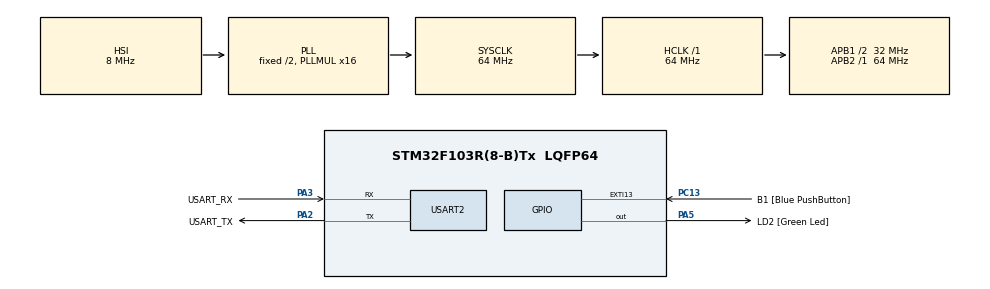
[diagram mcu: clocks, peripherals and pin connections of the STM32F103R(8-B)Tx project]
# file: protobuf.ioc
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Mcu.Family=STM32F1
Mcu.Name=STM32F103R(8-B)Tx
Mcu.Package=LQFP64
NVIC.EXTI15_10_IRQn=true\:0\:0\:false\:false\:true\:true\:true\:true
NVIC.PriorityGroup=NVIC_PRIORITYGROUP_4
PA13.GPIO_Label=TMS
PA13.Mode=Serial_Wire
PA13.Signal=SYS_JTMS-SWDIO
PA14.GPIO_Label=TCK
PA14.Mode=Serial_Wire
PA14.Signal=SYS_JTCK-SWCLK
PA2.GPIO_Label=USART_TX
PA2.GPIO_Mode=GPIO_MODE_AF_PP
PA2.GPIO_PuPd=GPIO_NOPULL
PA2.GPIO_Speed=GPIO_SPEED_FREQ_LOW
PA2.Mode=Asynchronous
PA2.Signal=USART2_TX
PA3.GPIO_Label=USART_RX
PA3.GPIO_Mode=GPIO_MODE_AF_PP
PA3.GPIO_PuPd=GPIO_NOPULL
PA3.GPIO_Speed=GPIO_SPEED_FREQ_LOW
PA3.Mode=Asynchronous
PA3.Signal=USART2_RX
PA5.GPIO_Label=LD2 [Green Led]
PA5.GPIO_ModeDefaultOutputPP=GPIO_MODE_OUTPUT_PP
PA5.GPIO_PuPd=GPIO_NOPULL
PA5.GPIO_Speed=GPIO_SPEED_FREQ_LOW
PA5.Signal=GPIO_Output
PB3.GPIO_Label=SWO
PB3.Signal=SYS_JTDO-TRACESWO
PC13-TAMPER-RTC.GPIO_Label=B1 [Blue PushButton]
PC13-TAMPER-RTC.GPIO_PuPd=GPIO_NOPULL
PC13-TAMPER-RTC.Signal=GPXTI13
PC14-OSC32_IN.Mode=LSE-External-Oscillator
PC14-OSC32_IN.Signal=RCC_OSC32_IN
PC15-OSC32_OUT.Mode=LSE-External-Oscillator
PC15-OSC32_OUT.Signal=RCC_OSC32_OUT
PD0-OSC_IN.Mode=HSE-External-Clock-Source
PD0-OSC_IN.Signal=RCC_OSC_IN
PD1-OSC_OUT.Mode=HSE-External-Clock-Source
PD1-OSC_OUT.Signal=RCC_OSC_OUT
ProjectManager.HeapSize=0x200
ProjectManager.StackSize=0x400
ProjectManager.TargetToolchain=STM32CubeIDE
RCC.AHBFreq_Value=64000000
RCC.APB1CLKDivider=RCC_HCLK_DIV2
RCC.APB1Freq_Value=32000000
RCC.APB1TimFreq_Value=64000000
RCC.APB2Freq_Value=64000000
RCC.APB2TimFreq_Value=64000000
RCC.HCLKFreq_Value=64000000
RCC.PLLMUL=RCC_PLL_MUL16
RCC.RTCClockSelection=RCC_RTCCLKSOURCE_LSE
RCC.SYSCLKFreq_VALUE=64000000
RCC.SYSCLKSource=RCC_SYSCLKSOURCE_PLLCLK
RCC.USBFreq_Value=64000000
USART2.VirtualMode=VM_ASYNC
board=NUCLEO-F103RB

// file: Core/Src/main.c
/* USER CODE BEGIN Header */
/**
  ******************************************************************************
  * @file           : main.c
  * @brief          : Main program body
  ******************************************************************************
  * @attention
  *
  * Copyright (c) 2024 STMicroelectronics.
  * All rights reserved.
  *
  * This software is licensed under terms that can be found in the LICENSE file
  * in the root directory of this software component.
  * If no LICENSE file comes with this software, it is provided AS-IS.
  *
  ******************************************************************************
  */
/* USER CODE END Header */
#include "main.h"

UART_HandleTypeDef huart2;

void SystemClock_Config(void);
static void MX_GPIO_Init(void);
static void MX_USART2_UART_Init(void);

/* USER CODE BEGIN 0 */
UART_HandleTypeDef huart2;

#include <pb_decode.h>
#include <pb_common.h>
#include "unionproto.pb.h"

/* This function reads manually the first tag from the stream and finds the
 * corresponding message type. It doesn't yet decode the actual message.
 *
 * Returns a pointer to the MsgType_fields array, as an identifier for the
 * message type. Returns null if the tag is of unknown type or an error occurs.
 */
extern pb_msgdesc_t* decode_unionmessage_type(pb_istream_t *stream);

extern bool decode_unionmessage_contents(pb_istream_t *stream, const pb_msgdesc_t *messagetype, void *dest_struct);

bool receive_message(UART_HandleTypeDef *huart, uint8_t *buffer, size_t* buffer_size)
{
    uint8_t length_prefix[2];

    // Receive length prefix
    if (HAL_UART_Receive(huart, length_prefix, sizeof(length_prefix), HAL_MAX_DELAY) != HAL_OK)
    {
        return false; // Failed to receive length prefix
    }

    // Calculate message length
    size_t message_length = (length_prefix[0] << 8) | length_prefix[1];

    // Check if the message length exceeds buffer size
    if (message_length > *buffer_size)
    {
        return false; // Error: message too long
    }

    *buffer_size = message_length;
    // Receive the message
    return (HAL_UART_Receive(huart, buffer, message_length, HAL_MAX_DELAY) == HAL_OK);
}

void send_response(UART_HandleTypeDef *huart, uint8_t response_type)
{
    // Create a buffer for the response
    uint8_t response[3]; // 2 bytes for length + 1 byte for response type
    uint16_t length = 1; // Response type length

    // Create length prefix
    response[0] = (length >> 8) & 0xFF; // High byte
    response[1] = length & 0xFF;        // Low byte
    response[2] = response_type;        // Response type

    // Send the response
    HAL_UART_Transmit(huart, response, sizeof(response), HAL_MAX_DELAY);
}

MsgType1 msg1 = {};
MsgType2 msg2 = {};
MsgType3 msg3 = {};

bool process_message(uint8_t *buffer, size_t length)
{
    pb_istream_t stream = pb_istream_from_buffer(buffer, length);
    const pb_msgdesc_t *type = decode_unionmessage_type(&stream);
    bool status = false;

    if (type == MsgType1_fields)
    {
        status = decode_unionmessage_contents(&stream, MsgType1_fields, &msg1);
        // Handle MsgType1
    }
    else if (type == MsgType2_fields)
    {
        status = decode_unionmessage_contents(&stream, MsgType2_fields, &msg2);
        // Handle MsgType2
    }
    else if (type == MsgType3_fields)
    {
        status = decode_unionmessage_contents(&stream, MsgType3_fields, &msg3);
        // Handle MsgType3
    }

    return status;
}

void receive_protobuf_message(UART_HandleTypeDef *huart)
{
    uint8_t buffer[512];
    size_t size = sizeof(buffer);

    if (receive_message(huart, buffer, &size))
    {
    	if(process_message(buffer, size))
    	{
            send_response(huart, 0x00); // Send success response
    	}
    	else
    	{
            send_response(huart, 0x02); // Send error response
    	}
    }
    else
    {
        send_response(huart, 0x01); // Send error response
    }
}

/* USER CODE END 0 */

int main(void)
{

  /* MCU Configuration--------------------------------------------------------*/

  /* Reset of all peripherals, Initializes the Flash interface and the Systick. */
  HAL_Init();

  /* Configure the system clock */
  SystemClock_Config();

  /* Initialize all configured peripherals */
  MX_GPIO_Init();
  MX_USART2_UART_Init();

  /* Infinite loop */
  /* USER CODE BEGIN WHILE */
  while (1)
  {
	  receive_protobuf_message(&huart2);
	  /* USER CODE END WHILE */

  }
}

void SystemClock_Config(void)
{
  RCC_OscInitTypeDef RCC_OscInitStruct = {0};
  RCC_ClkInitTypeDef RCC_ClkInitStruct = {0};

  /** Initializes the RCC Oscillators according to the specified parameters
  * in the RCC_OscInitTypeDef structure.
  */
  RCC_OscInitStruct.OscillatorType = RCC_OSCILLATORTYPE_HSI;
  RCC_OscInitStruct.HSIState = RCC_HSI_ON;
  RCC_OscInitStruct.HSICalibrationValue = RCC_HSICALIBRATION_DEFAULT;
  RCC_OscInitStruct.PLL.PLLState = RCC_PLL_ON;
  RCC_OscInitStruct.PLL.PLLSource = RCC_PLLSOURCE_HSI_DIV2;
  RCC_OscInitStruct.PLL.PLLMUL = RCC_PLL_MUL16;
  if (HAL_RCC_OscConfig(&RCC_OscInitStruct) != HAL_OK)
  {
    Error_Handler();
  }

  /** Initializes the CPU, AHB and APB buses clocks
  */
  RCC_ClkInitStruct.ClockType = RCC_CLOCKTYPE_HCLK|RCC_CLOCKTYPE_SYSCLK
                              |RCC_CLOCKTYPE_PCLK1|RCC_CLOCKTYPE_PCLK2;
  RCC_ClkInitStruct.SYSCLKSource = RCC_SYSCLKSOURCE_PLLCLK;
  RCC_ClkInitStruct.AHBCLKDivider = RCC_SYSCLK_DIV1;
  RCC_ClkInitStruct.APB1CLKDivider = RCC_HCLK_DIV2;
  RCC_ClkInitStruct.APB2CLKDivider = RCC_HCLK_DIV1;

  if (HAL_RCC_ClockConfig(&RCC_ClkInitStruct, FLASH_LATENCY_2) != HAL_OK)
  {
    Error_Handler();
  }
}

static void MX_USART2_UART_Init(void)
{

  huart2.Instance = USART2;
  huart2.Init.BaudRate = 115200;
  huart2.Init.WordLength = UART_WORDLENGTH_8B;
  huart2.Init.StopBits = UART_STOPBITS_1;
  huart2.Init.Parity = UART_PARITY_NONE;
  huart2.Init.Mode = UART_MODE_TX_RX;
  huart2.Init.HwFlowCtl = UART_HWCONTROL_NONE;
  huart2.Init.OverSampling = UART_OVERSAMPLING_16;
  if (HAL_UART_Init(&huart2) != HAL_OK)
  {
    Error_Handler();
  }

}

static void MX_GPIO_Init(void)
{
  GPIO_InitTypeDef GPIO_InitStruct = {0};

  /* GPIO Ports Clock Enable */
  __HAL_RCC_GPIOC_CLK_ENABLE();
  __HAL_RCC_GPIOD_CLK_ENABLE();
  __HAL_RCC_GPIOA_CLK_ENABLE();
  __HAL_RCC_GPIOB_CLK_ENABLE();

  /*Configure GPIO pin Output Level */
  HAL_GPIO_WritePin(LD2_GPIO_Port, LD2_Pin, GPIO_PIN_RESET);

  /*Configure GPIO pin : B1_Pin */
  GPIO_InitStruct.Pin = B1_Pin;
  GPIO_InitStruct.Mode = GPIO_MODE_IT_RISING;
  GPIO_InitStruct.Pull = GPIO_NOPULL;
  HAL_GPIO_Init(B1_GPIO_Port, &GPIO_InitStruct);

  /*Configure GPIO pin : LD2_Pin */
  GPIO_InitStruct.Pin = LD2_Pin;
  GPIO_InitStruct.Mode = GPIO_MODE_OUTPUT_PP;
  GPIO_InitStruct.Pull = GPIO_NOPULL;
  GPIO_InitStruct.Speed = GPIO_SPEED_FREQ_LOW;
  HAL_GPIO_Init(LD2_GPIO_Port, &GPIO_InitStruct);

  /* EXTI interrupt init*/
  HAL_NVIC_SetPriority(EXTI15_10_IRQn, 0, 0);
  HAL_NVIC_EnableIRQ(EXTI15_10_IRQn);

}

void Error_Handler(void)
{
  __disable_irq();
  while (1)
  {
  }
}
